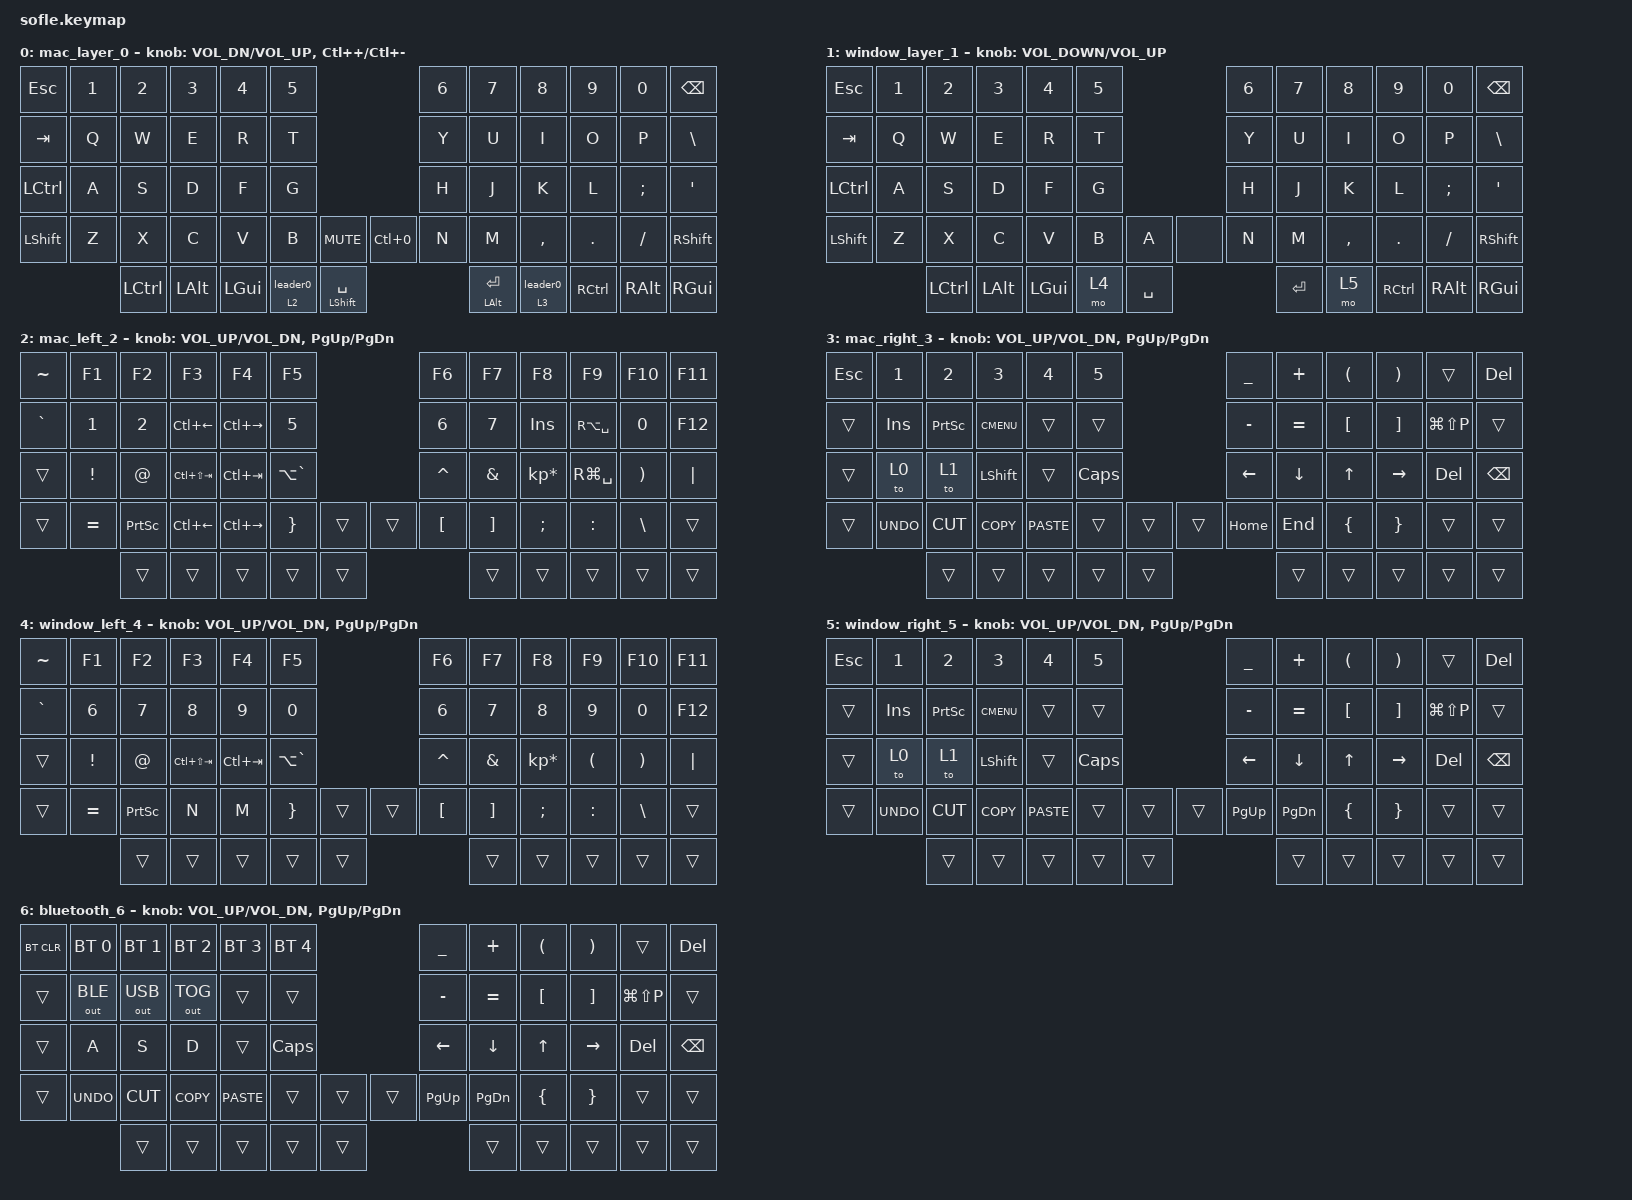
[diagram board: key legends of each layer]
/*
 * Copyright (c) 2020 The ZMK Contributors
 *
 * SPDX-License-Identifier: MIT
 */

#include <behaviors.dtsi>
#include <dt-bindings/zmk/bt.h>
#include <dt-bindings/zmk/keys.h>
#include <dt-bindings/zmk/outputs.h>

/ {
    behaviors {
        shift_caps: tap_dance_0 {
            compatible = "zmk,behavior-tap-dance";
            label = "TAP_DANCE_0";
            #binding-cells = <0>;
            tapping-term-ms = <200>;
            bindings = <&sk LSHFT>, <&caps_word>;
        };

        /* normal lt don't take behavior `&lt 3 &leader0` doesn't work */
        leader_lt: leader_lt {
            compatible = "zmk,behavior-hold-tap";
            #binding-cells = <2>;
            flavor = "tap-preferred";
            tapping-term-ms = <200>;
            bindings = <&mo>, <&leader0>;
            display-name = "Leader-LT";
        };

        leader0: leader0 {
            compatible = "zmk,behavior-leader-key";
            #binding-cells = <0>;

            terminal {
                sequence = <F T>;
                bindings = <&terminal_macro>;
            };
            chat {
                sequence = <F C>;
                bindings = <&chat_macro>;
            };
            browser {
                sequence = <F B>;
                bindings = <&browser_macro>;
            };
        };
    };

    macros {
        terminal_macro: terminal_macro {
            compatible = "zmk,behavior-macro";
            #binding-cells = <0>;
            bindings
                = <&macro_press &kp LALT>
                , <&macro_tap &kp SPACE>
                , <&macro_release &kp LALT>
                /* ghostty */
                , <&macro_tap &kp G>
                , <&macro_wait_time 50>
                , <&macro_tap &kp RET>
                ;
        };

        chat_macro: chat_macro {
            compatible = "zmk,behavior-macro";
            #binding-cells = <0>;
            bindings
                = <&macro_press &kp LALT>
                , <&macro_tap &kp SPACE>
                , <&macro_release &kp LALT>
                /* microsoft team */
                , <&macro_tap &kp T>
                , <&macro_wait_time 50>
                , <&macro_tap &kp RET>
                ;
        };

        browser_macro: browser_macro {
            compatible = "zmk,behavior-macro";
            #binding-cells = <0>;
            bindings
                = <&macro_press &kp LALT>
                , <&macro_tap &kp SPACE>
                , <&macro_release &kp LALT>
                /* Edge */
                , <&macro_tap &kp E>
                , <&macro_wait_time 50>
                , <&macro_tap &kp RET>
                ;
        };
    };

    conditional_layers {
        compatible = "zmk,conditional-layers";

        tri_layer_mac {
            if-layers = <2 3>;
            then-layer = <6>;
        };

        tri_layer_window {
            if-layers = <4 5>;
            then-layer = <6>;
        };
    };

    combos {
        compatible = "zmk,combos";

        left {
            bindings = <&kp LC(LEFT)>;
            key-positions = <16 15 14>;
            layers = <0>;
        };

        ctrl-right {
            bindings = <&kp LC(RIGHT)>;
            key-positions = <17 16 15>;
        };

        right-ctrl-right {
            bindings = <&kp LC(RIGHT)>;
            key-positions = <19 20 21>;
        };
    };

    keymap {
        compatible = "zmk,keymap";

        mac_layer_0 {
            bindings = <
&kp ESC     &kp N1  &kp N2     &kp N3    &kp N4    &kp N5                                        &kp N6  &kp N7     &kp N8     &kp N9    &kp N0    &kp BSPC
&kp TAB     &kp Q   &kp W      &kp E     &kp R     &kp T                                         &kp Y   &kp U      &kp I      &kp O     &kp P     &kp BACKSLASH
&kp LCTRL   &kp A   &kp S      &kp D     &kp F     &kp G                                         &kp H   &kp J      &kp K      &kp L     &kp SEMI  &kp SQT
&kp LSHIFT  &kp Z   &kp X      &kp C     &kp V     &kp B   &kp C_MUTE        &kp LC(N0)          &kp N   &kp M      &kp COMMA  &kp DOT   &kp FSLH  &kp RSHFT
                    &kp LCTRL  &kp LALT  &kp LGUI  &leader_lt 2 0   &mt LSHIFT SPACE  &mt LEFT_ALT ENTER  &leader_lt 3 0   &kp RCTRL  &kp RALT   &kp RGUI
            >;

            sensor-bindings = <&inc_dec_kp C_VOL_DN C_VOL_UP &inc_dec_kp LC(PLUS) LC(MINUS)>;
        };

        window_layer_1 {
            bindings = <
&kp ESC     &kp N1  &kp N2     &kp N3    &kp N4    &kp N5                      &kp N6  &kp N7     &kp N8     &kp N9    &kp N0    &kp BSPC
&kp TAB     &kp Q   &kp W      &kp E     &kp R     &kp T                       &kp Y   &kp U      &kp I      &kp O     &kp P     &kp BACKSLASH
&kp LCTRL   &kp A   &kp S      &kp D     &kp F     &kp G                       &kp H   &kp J      &kp K      &kp L     &kp SEMI  &kp SQT
&kp LSHIFT  &kp Z   &kp X      &kp C     &kp V     &kp B   &kp A      &none    &kp N   &kp M      &kp COMMA  &kp DOT   &kp FSLH  &kp RSHIFT
                    &kp LCTRL  &kp LALT  &kp LGUI  &mo 4   &kp SPACE  &kp RET  &mo 5   &kp RCTRL  &kp RALT   &kp RGUI
            >;

            sensor-bindings = <&inc_dec_kp C_VOLUME_DOWN C_VOL_UP>;
        };

        mac_left_2 {
            bindings = <
&kp TILDE  &kp F1     &kp F2           &kp F3           &kp F4         &kp F5                         &kp F6     &kp F7    &kp F8           &kp F9         &kp F10   &kp F11
&kp GRAVE  &kp N1     &kp N2           &kp LC(LEFT)     &kp LC(RIGHT)  &kp N5                         &kp N6     &kp N7    &kp INSERT       &kp RA(SPACE)  &kp N0    &kp F12
&trans     &kp EXCL   &kp AT           &kp LC(LS(TAB))  &kp LC(TAB)    &kp LA(GRAVE)                  &kp CARET  &kp AMPS  &kp KP_MULTIPLY  &kp RG(SPACE)  &kp RPAR  &kp PIPE
&trans     &kp EQUAL  &kp PRINTSCREEN  &kp LC(LEFT)     &kp LC(RIGHT)  &kp RBRC       &trans  &trans  &kp LBKT   &kp RBKT  &kp SEMI         &kp COLON      &kp BSLH  &trans
                      &trans           &trans           &trans         &trans         &trans  &trans  &trans     &trans    &trans           &trans
            >;

            sensor-bindings = <&inc_dec_kp C_VOL_UP C_VOL_DN &inc_dec_kp PG_UP PG_DN>;
        };

        mac_right_3 {
            bindings = <
&kp ESC  &kp N1      &kp N2     &kp N3       &kp N4       &kp N5                    &kp UNDERSCORE  &kp PLUS   &kp LEFT_PARENTHESIS  &kp RIGHT_PARENTHESIS  &trans         &kp DEL
&trans   &kp INS     &kp PSCRN  &kp K_CMENU  &trans       &trans                    &kp MINUS       &kp EQUAL  &kp LEFT_BRACKET      &kp RIGHT_BRACKET      &kp LG(LS(P))  &trans
&trans   &to 0       &to 1      &kp LSHFT    &trans       &kp CLCK                  &kp LEFT        &kp DOWN   &kp UP                &kp RIGHT              &kp DEL        &kp BSPC
&trans   &kp K_UNDO  &kp K_CUT  &kp K_COPY   &kp K_PASTE  &trans    &trans  &trans  &kp HOME        &kp END    &kp LEFT_BRACE        &kp RIGHT_BRACE        &trans         &trans
                     &trans     &trans       &trans       &trans    &trans  &trans  &trans          &trans     &trans                &trans
            >;

            sensor-bindings = <&inc_dec_kp C_VOL_UP C_VOL_DN &inc_dec_kp PG_UP PG_DN>;
        };

        window_left_4 {
            bindings = <
&kp TILDE  &kp F1     &kp F2           &kp F3           &kp F4       &kp F5                         &kp F6     &kp F7    &kp F8           &kp F9     &kp F10   &kp F11
&kp GRAVE  &kp N6     &kp N7           &kp N8           &kp N9       &kp N0                         &kp N6     &kp N7    &kp N8           &kp N9     &kp N0    &kp F12
&trans     &kp EXCL   &kp AT           &kp LC(LS(TAB))  &kp LC(TAB)  &kp LA(GRAVE)                  &kp CARET  &kp AMPS  &kp KP_MULTIPLY  &kp LPAR   &kp RPAR  &kp PIPE
&trans     &kp EQUAL  &kp PRINTSCREEN  &kp N            &kp M        &kp RBRC       &trans  &trans  &kp LBKT   &kp RBKT  &kp SEMI         &kp COLON  &kp BSLH  &trans
                      &trans           &trans           &trans       &trans         &trans  &trans  &trans     &trans    &trans           &trans
            >;

            sensor-bindings = <&inc_dec_kp C_VOL_UP C_VOL_DN &inc_dec_kp PG_UP PG_DN>;
        };

        window_right_5 {
            bindings = <
&kp ESC  &kp N1      &kp N2     &kp N3       &kp N4       &kp N5                    &kp UNDERSCORE  &kp PLUS   &kp LEFT_PARENTHESIS  &kp RIGHT_PARENTHESIS  &trans         &kp DEL
&trans   &kp INS     &kp PSCRN  &kp K_CMENU  &trans       &trans                    &kp MINUS       &kp EQUAL  &kp LEFT_BRACKET      &kp RIGHT_BRACKET      &kp LG(LS(P))  &trans
&trans   &to 0       &to 1      &kp LSHFT    &trans       &kp CLCK                  &kp LEFT        &kp DOWN   &kp UP                &kp RIGHT              &kp DEL        &kp BSPC
&trans   &kp K_UNDO  &kp K_CUT  &kp K_COPY   &kp K_PASTE  &trans    &trans  &trans  &kp PG_UP       &kp PG_DN  &kp LEFT_BRACE        &kp RIGHT_BRACE        &trans         &trans
                     &trans     &trans       &trans       &trans    &trans  &trans  &trans          &trans     &trans                &trans
            >;

            sensor-bindings = <&inc_dec_kp C_VOL_UP C_VOL_DN &inc_dec_kp PG_UP PG_DN>;
        };

        bluetooth_6 {
            bindings = <
&bt BT_CLR  &bt BT_SEL 0  &bt BT_SEL 1  &bt BT_SEL 2  &bt BT_SEL 3  &bt BT_SEL 4                  &kp UNDERSCORE  &kp PLUS   &kp LEFT_PARENTHESIS  &kp RIGHT_PARENTHESIS  &trans         &kp DEL
&trans      &out OUT_BLE  &out OUT_USB  &out OUT_TOG  &trans        &trans                        &kp MINUS       &kp EQUAL  &kp LEFT_BRACKET      &kp RIGHT_BRACKET      &kp LG(LS(P))  &trans
&trans      &kp A         &kp S         &kp D         &trans        &kp CLCK                      &kp LEFT        &kp DOWN   &kp UP                &kp RIGHT              &kp DEL        &kp BSPC
&trans      &kp K_UNDO    &kp K_CUT     &kp K_COPY    &kp K_PASTE   &trans        &trans  &trans  &kp PG_UP       &kp PG_DN  &kp LEFT_BRACE        &kp RIGHT_BRACE        &trans         &trans
                          &trans        &trans        &trans        &trans        &trans  &trans  &trans          &trans     &trans                &trans
            >;

            sensor-bindings = <&inc_dec_kp C_VOL_UP C_VOL_DN &inc_dec_kp PG_UP PG_DN>;
        };
    };
};
